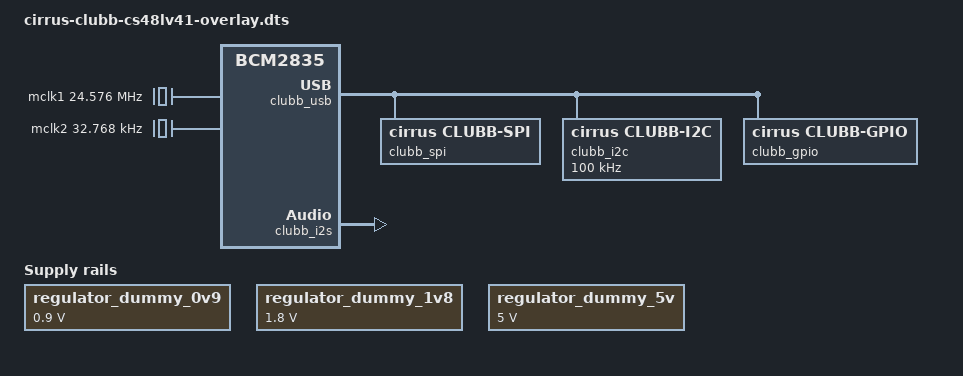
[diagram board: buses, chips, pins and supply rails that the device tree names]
// Definitions for Quartet Soundcard - Simplified implementation
// Please refer to https://www.raspberrypi.org/documentation/configuration/device-tree.md
/dts-v1/;
/plugin/;
#include <dt-bindings/pinctrl/bcm2835.h>
#include <dt-bindings/gpio/gpio.h>
#include <dt-bindings/mfd/arizona.h>

/{
	compatible = "brcm,bcm2835";

	fragment@0 {
		target = <&soc>;
		__overlay__ {
			clubb_usb: clubb_usb {
				compatible = "cirrus,clubb";
				status = "okay";
			};
		};
	};

	fragment@1 {
		target = <&soc>;
		__overlay__ {
			clubb_i2s: clubb_i2s {
				#sound-dai-cells = <1>;
				compatible = "cirrus,clubb-i2s";
				status = "okay";
			};
		};
	};

	fragment@2 {
		target = <&clubb_usb>;
		__overlay__ {
			
			clubb_spi: clubb_spi {
				#address-cells = <1>;
				#size-cells = <0>;
				status = "okay";
				
				compatible = "cirrus,clubb-spi";

				cs48lv41: cs48lv41@0 {
					#sound-dai-cells = <1>;
					spi-max-frequency = <12500000>;
					spi-pad-bits = <32>;
					compatible = "cirrus,clsic";
					reg = <0>;
					status = "okay";

					interrupts = <0 8>;
					interrupt-controller;
					#interrupt-cells = <2>;
					interrupt-parent = <&clubb_gpio>;

					gpio-controller;
					#gpio-cells = <2>;

					VDD_A-supply   =  <&regulator_dummy_1v8>;
					VDD_IO1-supply =  <&regulator_dummy_1v8>;
					VDD_D-supply   =  <&regulator_dummy_0v9>;

					reset-gpio = <&clubb_gpio 3 GPIO_ACTIVE_HIGH>;

					volatile_memory;

					pinctrl-names = "default";
					pinctrl-0 = <&cs48lv41_defaults>;
					cs48lv40_pinctrl: tacna-pinctrl {
						compatible = "cirrus,tacna-pinctrl";

						cs48lv41_defaults: defaults {
							asp1 {
								groups = "asp1";
								function = "asp1";
								bias-bus-hold;
							};
							asp2 {
								groups = "asp2";
								function = "asp2";
								bias-bus-hold;
							};
							asp3 {
								groups = "asp3";
								function = "asp3";
								bias-bus-hold;
							};
							asp4 {
								groups = "asp4";
								function = "asp4";
								bias-bus-hold;
							};
							in1-pdm {
								groups = "in1-pdm";
								function ="in1-pdm";
								bias-bus-hold;
							};
							in2-pdm {
								groups = "in2-pdm";
								function ="in2-pdm";
								bias-bus-hold;
							};
							in3-pdm {
								groups = "in3-pdm";
								function ="in3-pdm";
								bias-bus-hold;
							};
							in4-pdm {
								groups = "in4-pdm";
								function ="in4-pdm";
								bias-bus-hold;
							};
						};
					};

					MICBIAS1A {
						regulator-active-discharge = <1>;
					};

					MICBIAS1B {
						regulator-active-discharge = <1>;
					};

					MICBIAS1C {
						regulator-active-discharge = <1>;
					};

					MICBIAS1D {
						regulator-active-discharge = <1>;
					};

					cs48lv41_alg: cs48lv41_alg@0 {
						compatible = "cirrus,clsic-alg";
						#sound-dai-cells = <1>;
						cirrus,service-type = <0x4C41>;
					};
				};
			};
		};
	};

	fragment@3 {
		target = <&clubb_usb>;
		__overlay__ {
			status = "okay";
			
			clubb_i2c: clubb_i2c {
				compatible = "cirrus,clubb-i2c";
				#address-cells = <1>;
				#size-cells = <0>;
				status = "okay";
			
				clock-frequency = <100000>;

				left_amp: cs35l41@40{
					#sound-dai-cells = <1>;
					compatible = "cirrus,cs35l41";
					reg = <0x40>; 
					#interrupt-cells = <2>;
					interrupts = <1 8>;
					interrupt-controller;
					interrupt-parent = <&clubb_gpio>;
					VA-supply = <&regulator_dummy_1v8>;
					VP-supply = <&regulator_dummy_5v>;

					cirrus,boost-peak-milliamp = <4500>;
					cirrus,boost-ind-nanohenry = <1000>;
					cirrus,boost-cap-microfarad = <15>;

					gpio-controller;
					#gpio-cells = <2>;

					reset-gpio = <&clubb_gpio 2 GPIO_ACTIVE_HIGH>;
					cirrus,gpio-config1 {
						cirrus,gpio-src-select = <0x2>;
					};
					cirrus,gpio-config2 {
						cirrus,gpio-src-select = <0x4>;
						cirrus,gpio-output-enable;
					};
				};

				right_amp: cs35l41@41{
					#sound-dai-cells = <1>;
					compatible = "cirrus,cs35l41";
					reg = <0x41>;
					#interrupt-cells = <2>;
					interrupts = <3 8>;
					interrupt-controller;
					interrupt-parent = <&clubb_gpio>;
					VA-supply = <&regulator_dummy_1v8>;
					VP-supply = <&regulator_dummy_5v>;

					cirrus,boost-peak-milliamp = <4500>;
					cirrus,boost-ind-nanohenry = <1000>;
					cirrus,boost-cap-microfarad = <15>;

					gpio-controller;
					#gpio-cells = <2>;

					reset-gpio = <&clubb_gpio 2 GPIO_ACTIVE_HIGH>;
					cirrus,right-channel-amp;
					cirrus,gpio-config1 {
						cirrus,gpio-src-select = <0x2>;
					};
					cirrus,gpio-config2 {
						cirrus,gpio-src-select = <0x4>;
						cirrus,gpio-output-enable;
					};
				};
				/*
				wm8998: wm8998@1a {
					#sound-dai-cells = <1>;
					compatible = "wlf,wm8998";
					reg = <0x1a>;
					status = "okay";

					interrupts = <6 8>;
					interrupt-controller;
					#interrupt-cells = <2>;
					interrupt-parent = <&gpio>;

					gpio-controller;
					#gpio-cells = <2>;

					clocks = <&mclk1 &mclk2>;
					clock-names = "mclk1", "mclk2";

					wlf,ldoena = <&clubb_gpio 0 GPIO_ACTIVE_HIGH>;
					wlf,reset  = <&clubb_gpio 1 GPIO_ACTIVE_HIGH>;

					CPVDD-supply = <&regulator_dummy_1v8>;
					AVDD-supply = <&regulator_dummy_1v8>;
					DBVDD1-supply = <&regulator_dummy_1v8>;
					DBVDD2-supply = <&regulator_dummy_1v8>;
					DBVDD3-supply = <&regulator_dummy_1v8>;
					SPKVDDL-supply = <&regulator_dummy_5v>;
					SPKVDDR-supply = <&regulator_dummy_5v>;

					wlf,jd-invert = <1>;
					wlf,inmode   = <0 0 1 0>;
					wlf,dmic-ref = <0 0 0 0>;

					wlf,gpio-defaults = <
						ARIZONA_GP_DEFAULT
						ARIZONA_GP_DEFAULT
						ARIZONA_GP_DEFAULT
						ARIZONA_GP_DEFAULT
						ARIZONA_GP_DEFAULT
					>;

					ldo1 {
						regulator-name = "LDO1";
						// default constraints as in
						// arizona-ldo1.c
						regulator-min-microvolt = <1200000>;
						regulator-max-microvolt = <1800000>;
					};
				};
*/
			};
		};
	};

	fragment@4 {
		target = <&soc>;
		__overlay__ {
			regulator_dummy_0v9: regulator_dummy_0v9 {
				compatible = "regulator-fixed";
				regulator-name = "CDC_VDD_0.9V";
				regulator-min-microvolt = <900000>;
				regulator-max-microvolt = <900000>;
				regulator-boot-on;
				regulator-always-on;
			};
			regulator_dummy_1v8: regulator_dummy_1v8 {
				compatible = "regulator-fixed";
				regulator-name = "CDC_VDD_1.8V";
				regulator-min-microvolt = <1800000>;
				regulator-max-microvolt = <1800000>;
				regulator-boot-on;
				regulator-always-on;
			};
			regulator_dummy_5v: regulator_dummy_5v {
				compatible = "regulator-fixed";
				regulator-name = "CDC_VDD_5V";
				regulator-min-microvolt = <5000000>;
				regulator-max-microvolt = <5000000>;
				regulator-boot-on;
				regulator-always-on;
			};
		};
	};

	fragment@5 {
		target = <&clubb_usb>;
		__overlay__ {
			clubb_gpio: clubb_gpio {
				compatible = "cirrus,clubb-gpio";
				status = "okay";
				
				gpio-controller;
				#gpio-cells = <2>;
				
				interrupt-controller;
				#interrupt-cells = <2>;
			};
		};
	};

	fragment@6 {
		target = <&clocks>;
		__overlay__ {
			mclk1: mclk1 {
				compatible = "fixed-clock";
				#clock-cells = <0>;
				clock-frequency = <24576000>;
			};

			mclk2: mclk2 {
				compatible = "fixed-clock";
				#clock-cells = <0>;
				clock-frequency = <32768>;
			};
		};
	};
	
        fragment@7 {
                target = <&sound>;
                __overlay__ {
                        compatible = "cirrus,clubb-soundcard";
                        i2s-controller = <&clubb_i2s>;
                        status = "okay";
                };
        };

};
